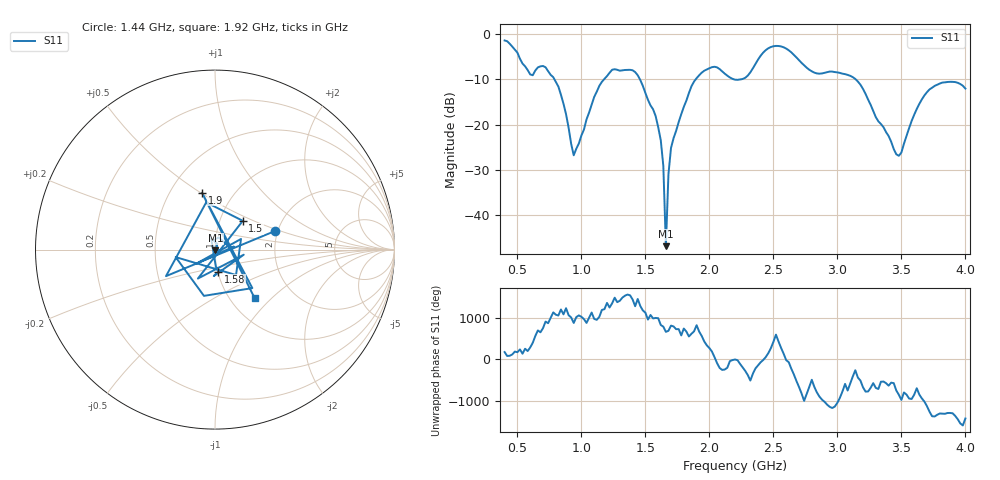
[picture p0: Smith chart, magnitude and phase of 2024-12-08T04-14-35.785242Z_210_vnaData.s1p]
!Created with skrf (http://scikit-rf.org).
# Hz S RI R 50.0
!freq ReS11 ImS11
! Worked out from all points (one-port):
!   181 points, 400 MHz to 4 GHz, reference 50 ohm
!   lowest |S11| = -46.9 dB at 1.66 GHz (marker M1), VSWR 1.01, Z = 50.2 - j0.382 ohm
!   |S11| at or under -10 dB: 788.9 MHz to 1.177 GHz (388.3 MHz wide, 39.5 % of centre); 1.457 GHz to 1.893 GHz (436.4 MHz wide, 26.1 % of centre); 3.143 GHz to end of sweep (the widest 3 of 4)
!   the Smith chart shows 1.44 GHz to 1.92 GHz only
!   S11 on the Smith chart (normalised r, x): 1.44 GHz: 1.94, +0.46; 1.5 GHz: 1.28, +0.43; 1.58 GHz: 1.01, -0.25; 1.9 GHz: 0.72, +0.51; 1.92 GHz: 1.29, -0.80
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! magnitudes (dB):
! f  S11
! 400 MHz  -1.4
! 600 MHz  -8.9
! 720 MHz  -7.3
! 860 MHz  -15.4
! 940 MHz  -26.8
! 1.14 GHz  -11.5
! 1.3 GHz  -8.1
! 1.44 GHz  -9.1
! 1.5 GHz  -13.0
! 1.58 GHz  -18.1
! 1.62 GHz  -23.5
! 1.64 GHz  -29.2
! 1.66 GHz  -46.9
! 1.68 GHz  -31.0
! 1.7 GHz  -25.2
! 1.76 GHz  -19.5
! 1.9 GHz  -9.8
! 1.92 GHz  -9.1
! 2.04 GHz  -7.2
! 2.2 GHz  -10.1
! 2.48 GHz  -2.9
! 2.66 GHz  -4.6
! 2.82 GHz  -8.5
! 3.1 GHz  -9.2
! 3.46 GHz  -26.6
! 3.56 GHz  -20.8
! 3.72 GHz  -12.2
! 4 GHz  -12.1
